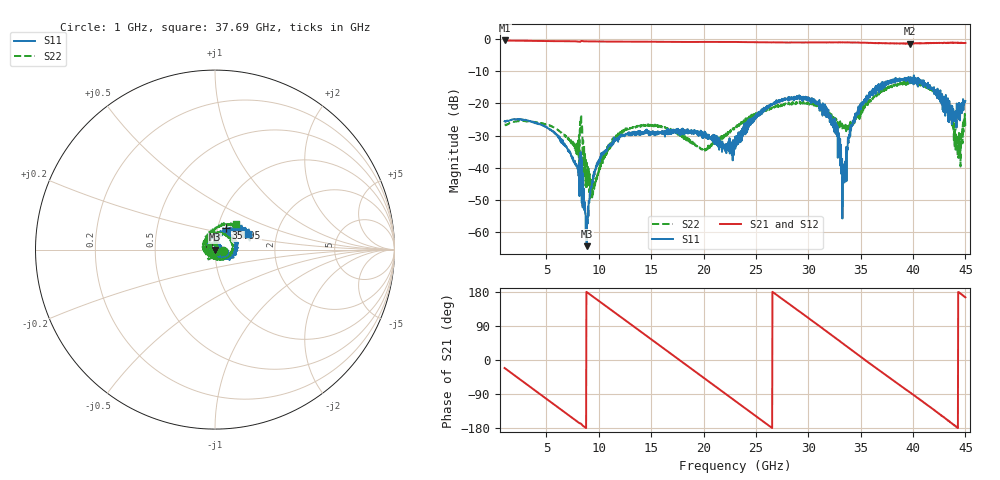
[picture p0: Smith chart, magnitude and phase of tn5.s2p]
!Keysight Technologies,N5247B,MY61255062,A.19.80.06
!Date: Tuesday, May 26, 2026 11:12:56
!Correction: S11(C  2-Port  )
!S21(C  2-Port  )
!S12(C  2-Port  )
!S22(C  2-Port  )
!S2P File: Measurements: S11, S21, S12, S22:
# Hz S  dB  R 50
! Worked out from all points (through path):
!   1601 points, 1 GHz to 45 GHz, reference 50 ohm
!   highest |S21| = -0.47 dB at 1 GHz (marker M1); lowest = -1.5 dB at 39.69 GHz (marker M2)
!   group delay of S21, straight-line fit = 56.3 ps
!   lowest |S11| = -64.3 dB at 8.838 GHz (marker M3), VSWR 1.00, Z = 50.1 - j0.0333 ohm
!   |S11| at or under -10 dB: start of sweep to end of sweep
!   |S22| runs from -49.4 to -13.0 dB; largest |S21 - S12| = 0.015
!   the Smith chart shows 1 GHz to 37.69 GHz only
!   S11 on the Smith chart (normalised r, x): 1 GHz: 1.11, -0.03; 35.95 GHz: 1.10, +0.26; 37.69 GHz: 1.42, +0.25
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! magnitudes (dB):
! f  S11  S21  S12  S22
! 1 GHz  -25.5  -0.5  -0.5  -26.5
! 5.647 GHz  -28.8  -0.7  -0.7  -27.4
! 7.93 GHz  -39.4  -0.7  -0.7  -32.4
! 8.342 GHz  -41.7  -0.6  -0.6  -28.1
! 8.838 GHz  -64.3  -0.8  -0.8  -38.8
! 9.47 GHz  -42.8  -0.8  -0.8  -45.9
! 10.93 GHz  -33.3  -0.8  -0.8  -34.0
! 12.58 GHz  -29.5  -0.8  -0.8  -28.3
! 15.69 GHz  -28.7  -0.9  -0.9  -27.4
! 20.09 GHz  -28.7  -0.9  -0.9  -34.2
! 23 GHz  -30.3  -0.9  -0.9  -27.8
! 26.6 GHz  -20.1  -1.1  -1.1  -21.1
! 30.34 GHz  -18.3  -1.1  -1.1  -20.0
! 32.46 GHz  -27.1  -1.1  -1.0  -24.9
! 33.37 GHz  -39.9  -1.0  -1.1  -26.8
! 34.16 GHz  -27.1  -1.1  -1.1  -26.6
! 35.95 GHz  -17.5  -1.2  -1.2  -19.4
! 37.69 GHz  -13.9  -1.4  -1.3  -14.7
! 39.69 GHz  -13.6  -1.5  -1.4  -13.7
! 42.5 GHz  -17.2  -1.3  -1.2  -17.7
! 44.31 GHz  -23.6  -1.2  -1.1  -31.1
! 45 GHz  -19.2  -1.2  -1.3  -27.5
